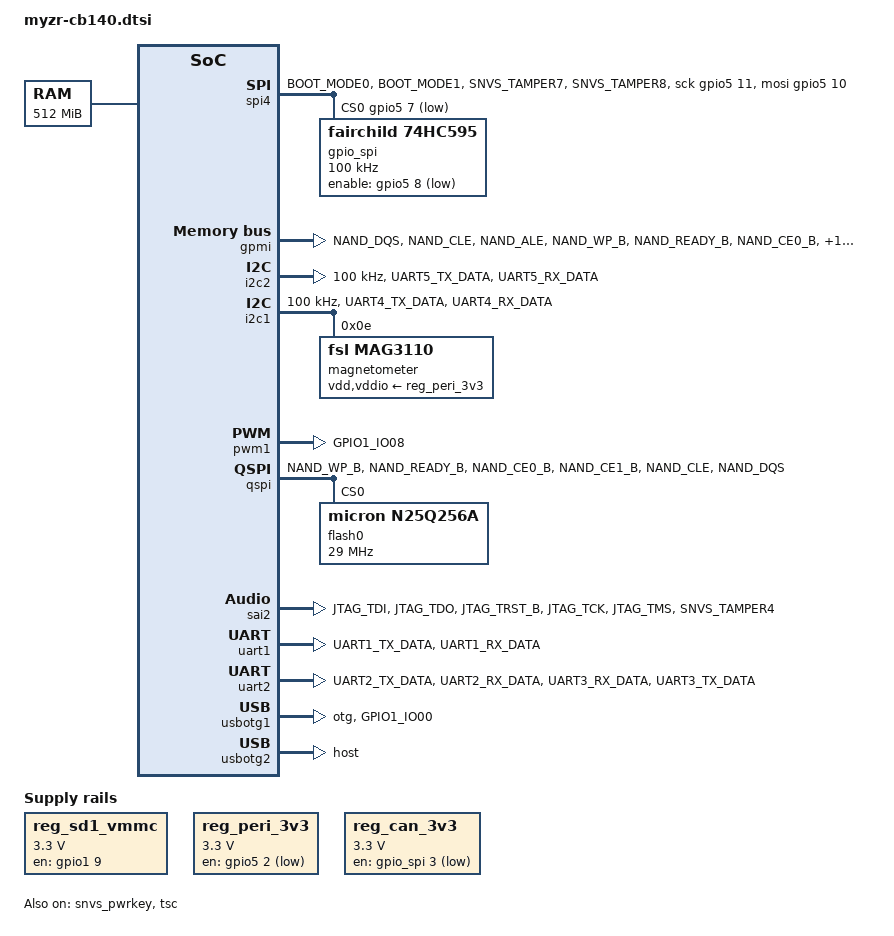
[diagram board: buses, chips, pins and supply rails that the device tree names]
// SPDX-License-Identifier: GPL-2.0
//
// Copyright (C) 2015 Freescale Semiconductor, Inc.

/ {
	chosen {
		stdout-path = &uart1;
	};

	memory@80000000 {
		device_type = "memory";
		reg = <0x80000000 0x20000000>;
	};

	reg_sd1_vmmc: regulator-sd1-vmmc {
		compatible = "regulator-fixed";
		regulator-name = "VSD_3V3";
		regulator-min-microvolt = <3300000>;
		regulator-max-microvolt = <3300000>;
		gpio = <&gpio1 9 GPIO_ACTIVE_HIGH>;
		enable-active-high;
	};

	reg_peri_3v3: regulator-peri-3v3 {
		compatible = "regulator-fixed";
		pinctrl-names = "default";
		pinctrl-0 = <&pinctrl_peri_3v3>;
		regulator-name = "VPERI_3V3";
		regulator-min-microvolt = <3300000>;
		regulator-max-microvolt = <3300000>;
		gpio = <&gpio5 2 GPIO_ACTIVE_LOW>;
		/*
		 * If you want to want to make this dynamic please
		 * check schematics and test all affected peripherals:
		 *
		 * - sensors
		 * - ethernet phy
		 * - can
		 * - bluetooth
		 * - wm8960 audio codec
		 * - ov5640 camera
		 */
		regulator-always-on;
	};

	reg_can_3v3: regulator-can-3v3 {
		compatible = "regulator-fixed";
		regulator-name = "can-3v3";
		regulator-min-microvolt = <3300000>;
		regulator-max-microvolt = <3300000>;
		gpios = <&gpio_spi 3 GPIO_ACTIVE_LOW>;
	};

	spi4 {
		compatible = "spi-gpio";
		pinctrl-names = "default";
		pinctrl-0 = <&pinctrl_spi4>;
		status = "okay";
		gpio-sck = <&gpio5 11 0>;
		gpio-mosi = <&gpio5 10 0>;
		cs-gpios = <&gpio5 7 GPIO_ACTIVE_LOW>;
		num-chipselects = <1>;
		#address-cells = <1>;
		#size-cells = <0>;

		gpio_spi: gpio@0 {
			compatible = "fairchild,74hc595";
			gpio-controller;
			#gpio-cells = <2>;
			reg = <0>;
			registers-number = <1>;
			spi-max-frequency = <100000>;
			enable-gpios = <&gpio5 8 GPIO_ACTIVE_LOW>;
		};
	};

};

&clks {
	assigned-clocks = <&clks IMX6UL_CLK_PLL4_AUDIO_DIV>;
	assigned-clock-rates = <786432000>;
};

/* NAND */
&gpmi {
        pinctrl-names = "default";
        pinctrl-0 = <&pinctrl_gpmi_nand>;
        fsl,use-minimum-ecc;
        nand-on-flash-bbt;
        nand-ecc-mode = "hw";
        nand-ecc-strength = <8>;
        nand-ecc-step-size = <512>;
        status = "okay";
};

&i2c2 {
	clock-frequency = <100000>;
	pinctrl-names = "default";
	pinctrl-0 = <&pinctrl_i2c2>;
	status = "okay";

};

&i2c1 {
	clock-frequency = <100000>;
	pinctrl-names = "default";
	pinctrl-0 = <&pinctrl_i2c1>;
	status = "okay";

	magnetometer@e {
		compatible = "fsl,mag3110";
		reg = <0x0e>;
		vdd-supply = <&reg_peri_3v3>;
		vddio-supply = <&reg_peri_3v3>;
	};
};

&pwm1 {
	#pwm-cells = <2>;
	pinctrl-names = "default";
	pinctrl-0 = <&pinctrl_pwm1>;
	status = "okay";
};

&qspi {
	pinctrl-names = "default";
	pinctrl-0 = <&pinctrl_qspi>;
	status = "okay";

	flash0: flash@0 {
		#address-cells = <1>;
		#size-cells = <1>;
		compatible = "micron,n25q256a", "jedec,spi-nor";
		spi-max-frequency = <29000000>;
		spi-rx-bus-width = <4>;
		spi-tx-bus-width = <1>;
		reg = <0>;
	};
};

&sai2 {
	pinctrl-names = "default";
	pinctrl-0 = <&pinctrl_sai2>;
	assigned-clocks = <&clks IMX6UL_CLK_SAI2_SEL>,
			  <&clks IMX6UL_CLK_SAI2>;
	assigned-clock-parents = <&clks IMX6UL_CLK_PLL4_AUDIO_DIV>;
	assigned-clock-rates = <0>, <12288000>;
	fsl,sai-mclk-direction-output;
	status = "okay";
};

&snvs_poweroff {
	status = "okay";
};

&snvs_pwrkey {
	status = "okay";
};

&tsc {
	pinctrl-names = "default";
	pinctrl-0 = <&pinctrl_tsc>;
	xnur-gpio = <&gpio1 3 GPIO_ACTIVE_LOW>;
	measure-delay-time = <0xffff>;
	pre-charge-time = <0xfff>;
	status = "okay";
};

&uart1 {
	pinctrl-names = "default";
	pinctrl-0 = <&pinctrl_uart1>;
	status = "okay";
};

&uart2 {
	pinctrl-names = "default";
	pinctrl-0 = <&pinctrl_uart2>;
	uart-has-rtscts;
	status = "okay";
};

&usbotg1 {
	dr_mode = "otg";
	pinctrl-names = "default";
	pinctrl-0 = <&pinctrl_usb_otg1>;
	status = "okay";
};

&usbotg2 {
	dr_mode = "host";
	disable-over-current;
	status = "okay";
};

&usbphy1 {
	fsl,tx-d-cal = <106>;
};

&usbphy2 {
	fsl,tx-d-cal = <106>;
};

&wdog1 {
	pinctrl-names = "default";
	pinctrl-0 = <&pinctrl_wdog>;
	fsl,ext-reset-output;
};

&iomuxc {
	pinctrl-names = "default";

	pinctrl_camera_clock: cameraclockgrp {
		fsl,pins = <
			MX6UL_PAD_CSI_MCLK__CSI_MCLK		0x1b088
		>;
	};

	pinctrl_gpmi_nand: gpminandgrp {
		fsl,pins = <
			MX6UL_PAD_NAND_DQS__RAWNAND_DQS         0x0b071
			MX6UL_PAD_NAND_CLE__RAWNAND_CLE         0x0b071
			MX6UL_PAD_NAND_ALE__RAWNAND_ALE         0x0b071
			MX6UL_PAD_NAND_WP_B__RAWNAND_WP_B       0x0b071
			MX6UL_PAD_NAND_READY_B__RAWNAND_READY_B 0x0b071
			MX6UL_PAD_NAND_CE0_B__RAWNAND_CE0_B     0x0b071
			MX6UL_PAD_NAND_CE1_B__RAWNAND_CE1_B     0x0b071
			MX6UL_PAD_NAND_RE_B__RAWNAND_RE_B       0x0b071
			MX6UL_PAD_NAND_WE_B__RAWNAND_WE_B       0x0b071
			MX6UL_PAD_NAND_DATA00__RAWNAND_DATA00   0x0b071
			MX6UL_PAD_NAND_DATA01__RAWNAND_DATA01   0x0b071
			MX6UL_PAD_NAND_DATA02__RAWNAND_DATA02   0x0b071
			MX6UL_PAD_NAND_DATA03__RAWNAND_DATA03   0x0b071
			MX6UL_PAD_NAND_DATA04__RAWNAND_DATA04   0x0b071
			MX6UL_PAD_NAND_DATA05__RAWNAND_DATA05   0x0b071
			MX6UL_PAD_NAND_DATA06__RAWNAND_DATA06   0x0b071
			MX6UL_PAD_NAND_DATA07__RAWNAND_DATA07   0x0b071
		>;
	};

	pinctrl_i2c1: i2c1grp {
		fsl,pins = <
			MX6UL_PAD_UART4_TX_DATA__I2C1_SCL 0x4001b8b0
			MX6UL_PAD_UART4_RX_DATA__I2C1_SDA 0x4001b8b0
		>;
	};

	pinctrl_i2c2: i2c2grp {
		fsl,pins = <
			MX6UL_PAD_UART5_TX_DATA__I2C2_SCL 0x4001b8b0
			MX6UL_PAD_UART5_RX_DATA__I2C2_SDA 0x4001b8b0
		>;
	};

	pinctrl_qspi: qspigrp {
		fsl,pins = <
			MX6UL_PAD_NAND_WP_B__QSPI_A_SCLK	0x70a1
			MX6UL_PAD_NAND_READY_B__QSPI_A_DATA00	0x70a1
			MX6UL_PAD_NAND_CE0_B__QSPI_A_DATA01	0x70a1
			MX6UL_PAD_NAND_CE1_B__QSPI_A_DATA02	0x70a1
			MX6UL_PAD_NAND_CLE__QSPI_A_DATA03	0x70a1
			MX6UL_PAD_NAND_DQS__QSPI_A_SS0_B	0x70a1
		>;
	};

	pinctrl_sai2: sai2grp {
		fsl,pins = <
			MX6UL_PAD_JTAG_TDI__SAI2_TX_BCLK	0x17088
			MX6UL_PAD_JTAG_TDO__SAI2_TX_SYNC	0x17088
			MX6UL_PAD_JTAG_TRST_B__SAI2_TX_DATA	0x11088
			MX6UL_PAD_JTAG_TCK__SAI2_RX_DATA	0x11088
			MX6UL_PAD_JTAG_TMS__SAI2_MCLK		0x17088
			MX6UL_PAD_SNVS_TAMPER4__GPIO5_IO04	0x17059
		>;
	};

	pinctrl_peri_3v3: peri3v3grp {
		fsl,pins = <
			MX6UL_PAD_SNVS_TAMPER2__GPIO5_IO02	0x1b0b0
		>;
	};

	pinctrl_pwm1: pwm1grp {
		fsl,pins = <
			MX6UL_PAD_GPIO1_IO08__PWM1_OUT   0x110b0
		>;
	};

	pinctrl_spi4: spi4grp {
		fsl,pins = <
			MX6UL_PAD_BOOT_MODE0__GPIO5_IO10	0x70a1
			MX6UL_PAD_BOOT_MODE1__GPIO5_IO11	0x70a1
			MX6UL_PAD_SNVS_TAMPER7__GPIO5_IO07	0x70a1
			MX6UL_PAD_SNVS_TAMPER8__GPIO5_IO08	0x80000000
		>;
	};

	pinctrl_tsc: tscgrp {
		fsl,pins = <
			MX6UL_PAD_GPIO1_IO01__GPIO1_IO01		0xb0
			MX6UL_PAD_GPIO1_IO02__GPIO1_IO02		0xb0
			MX6UL_PAD_GPIO1_IO03__GPIO1_IO03		0xb0
			MX6UL_PAD_GPIO1_IO04__GPIO1_IO04		0xb0
		>;
	};

	pinctrl_uart1: uart1grp {
		fsl,pins = <
			MX6UL_PAD_UART1_TX_DATA__UART1_DCE_TX 0x1b0b1
			MX6UL_PAD_UART1_RX_DATA__UART1_DCE_RX 0x1b0b1
		>;
	};

	pinctrl_uart2: uart2grp {
		fsl,pins = <
			MX6UL_PAD_UART2_TX_DATA__UART2_DCE_TX	0x1b0b1
			MX6UL_PAD_UART2_RX_DATA__UART2_DCE_RX	0x1b0b1
			MX6UL_PAD_UART3_RX_DATA__UART2_DCE_RTS	0x1b0b1
			MX6UL_PAD_UART3_TX_DATA__UART2_DCE_CTS	0x1b0b1
		>;
	};

	pinctrl_usb_otg1: usbotg1grp {
		fsl,pins = <
			MX6UL_PAD_GPIO1_IO00__ANATOP_OTG1_ID	0x17059
		>;
	};

	pinctrl_wdog: wdoggrp {
		fsl,pins = <
			MX6UL_PAD_LCD_RESET__WDOG1_WDOG_ANY    0x30b0
		>;
	};

};
